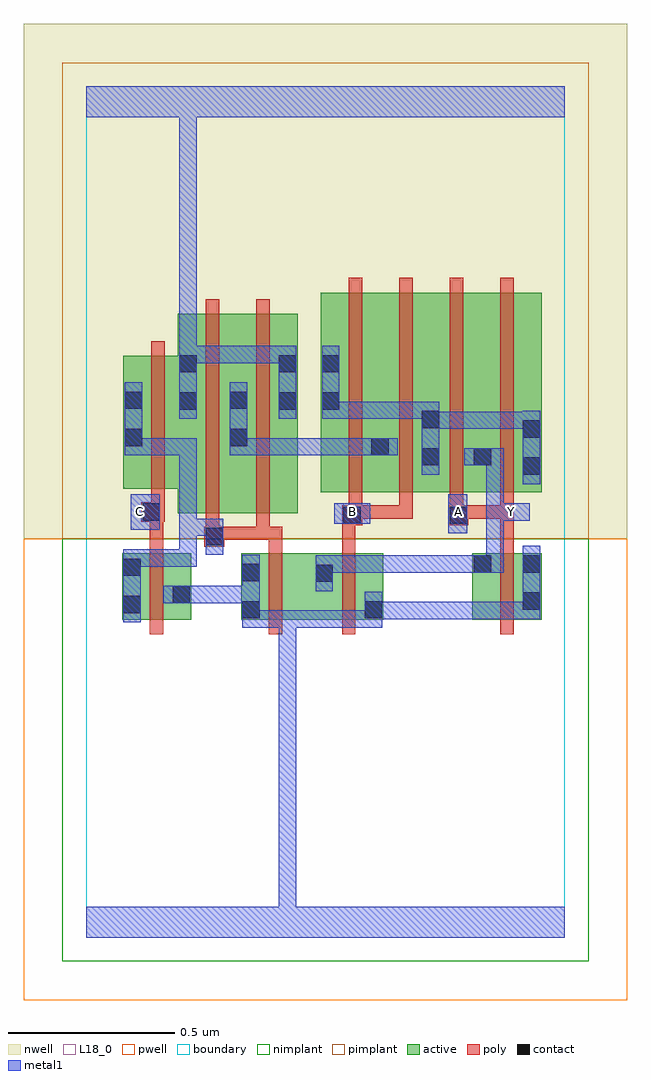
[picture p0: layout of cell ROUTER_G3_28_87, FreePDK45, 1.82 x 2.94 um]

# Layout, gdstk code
import gdstk
lib = gdstk.Library(unit=1e-6, precision=1e-09)
def R(c, l, rs):  # rectangles x0, y0, x1, y1
    for r in rs: c.add(gdstk.rectangle(r[:2], r[2:], *l))
def A(c, l, x, y, w, h, nx, ny, dx, dy):  # array of equal rectangles
    R(c, l, [(x+i*dx, y+j*dy, x+i*dx+w, y+j*dy+h) for i in range(nx) for j in range(ny)])
active = (1, 0)
pwell = (2, 0)
nwell = (3, 0)
nimplant = (4, 0)
pimplant = (5, 0)
poly = (9, 0)
contact = (10, 0)
metal1 = (11, 0)
L18_0 = (18, 0)
boundary = (235, 0)

router_g3_28_87 = lib.new_cell('ROUTER_G3_28_87')
R(router_g3_28_87, active, [(0.108,0.956,0.168,1.156), (0.108,0.956,0.316,1.156), (0.256,0.956,0.316,1.156), (0.466,0.956,0.526,1.156), (0.466,0.956,0.746,1.156), (0.686,0.956,0.894,1.156), (0.686,0.956,0.746,1.126), (0.834,0.956,0.894,1.156), (1.162,0.956,1.222,1.156), (1.162,0.956,1.37,1.156), (1.31,0.956,1.37,1.156), (0.276,1.276,0.488,1.876), (0.428,1.276,0.636,1.876), (0.428,1.276,0.488,1.876), (0.576,1.276,0.636,1.876), (0.706,1.34,0.914,1.94), (0.706,1.34,0.766,1.94), (0.854,1.34,1.066,1.94), (1.006,1.34,1.222,1.94), (1.162,1.34,1.37,1.94), (1.31,1.34,1.37,1.844), (0.112,1.35,0.336,1.75), (0.112,1.35,0.172,1.75), (0.276,1.35,0.336,1.756), (1.006,1.416,1.066,1.844), (1.162,1.416,1.222,1.844), (0.854,1.446,0.914,1.844)])
R(router_g3_28_87, pwell, [(-0.188,-0.188,1.628,1.2)])
R(router_g3_28_87, nwell, [(-0.188,1.2,1.628,2.748)])
R(router_g3_28_87, nimplant, [(-0.072,-0.072,1.512,1.2)])
R(router_g3_28_87, pimplant, [(-0.072,1.2,1.512,2.632)])
A(router_g3_28_87, poly, 0.79, 1.26, 0.04, 0.076, 4, 1, 0.152, 0)
A(router_g3_28_87, poly, 0.79, 1.296, 0.04, 0.688, 4, 1, 0.152, 0)
R(router_g3_28_87, poly, [(0.192,0.912,0.232,1.2), (0.55,0.912,0.59,1.2), (0.77,0.912,0.81,1.2), (1.246,0.912,1.286,1.2), (0.192,1.16,0.232,1.29), (0.55,1.16,0.59,1.236), (0.77,1.16,0.81,1.28), (1.246,1.16,1.286,1.3), (0.356,1.176,0.416,1.236), (0.36,1.196,0.4,1.272), (0.376,1.196,0.552,1.236), (0.512,1.196,0.552,1.272), (0.512,1.196,0.552,1.236), (0.512,1.196,0.552,1.236), (0.512,1.196,0.552,1.236), (0.512,1.196,0.552,1.236), (0.512,1.196,0.59,1.236), (0.36,1.232,0.4,1.92), (0.512,1.232,0.552,1.92), (0.77,1.24,0.81,1.28), (0.77,1.24,0.81,1.28), (0.77,1.24,0.83,1.3), (1.09,1.24,1.15,1.3), (0.166,1.25,0.236,1.31), (0.192,1.25,0.232,1.29), (0.192,1.25,0.232,1.29), (0.79,1.26,0.83,1.3), (0.79,1.26,0.83,1.3), (0.79,1.26,0.982,1.3), (0.942,1.26,0.982,1.3), (1.11,1.26,1.286,1.3), (1.246,1.26,1.286,1.3), (1.246,1.26,1.286,1.3), (1.246,1.26,1.286,1.3), (1.246,1.26,1.286,1.3), (1.246,1.26,1.286,1.3), (0.196,1.27,0.236,1.346), (0.196,1.306,0.236,1.794)])
R(router_g3_28_87, contact, [(0.47,0.96,0.522,1.012), (0.838,0.96,0.89,1.012), (0.112,0.976,0.164,1.028), (1.314,0.986,1.366,1.038), (0.26,1.006,0.312,1.058), (0.69,1.07,0.742,1.122), (0.47,1.072,0.522,1.124), (0.112,1.088,0.164,1.14), (1.166,1.098,1.218,1.15), (1.314,1.098,1.366,1.15), (0.36,1.18,0.412,1.232), (0.774,1.244,0.826,1.296), (1.094,1.244,1.146,1.296), (0.17,1.254,0.222,1.306), (1.314,1.392,1.366,1.444), (1.01,1.42,1.062,1.472), (1.166,1.42,1.218,1.472), (0.858,1.45,0.91,1.502), (0.116,1.478,0.168,1.53), (0.432,1.478,0.484,1.53), (1.314,1.504,1.366,1.556), (1.01,1.532,1.062,1.584), (0.28,1.588,0.332,1.64), (0.58,1.588,0.632,1.64), (0.71,1.588,0.762,1.64), (0.116,1.59,0.168,1.642), (0.432,1.59,0.484,1.642), (0.28,1.7,0.332,1.752), (0.58,1.7,0.632,1.752), (0.71,1.7,0.762,1.752)])
R(router_g3_28_87, metal1, [(0,0,1.44,0.092), (0.58,0.04,0.632,0.092), (0.58,0.04,0.632,0.092), (0.58,0.04,0.632,0.092), (0.58,0.04,0.632,0.092), (0.58,0.04,0.632,0.092), (0.58,0.04,0.632,0.092), (0.58,0.04,0.632,0.092), (0.58,0.04,0.632,0.092), (0.58,0.04,0.632,0.092), (0.58,0.04,0.632,0.092), (0.58,0.04,0.632,0.092), (0.58,0.04,0.632,0.092), (0.58,0.04,0.632,0.092), (0.58,0.04,0.632,0.092), (0.58,0.04,0.632,0.984), (0.47,0.932,0.522,0.984), (0.47,0.932,0.522,0.984), (0.47,0.932,0.522,1.152), (0.47,0.932,0.632,0.984), (0.58,0.932,0.632,0.984), (0.58,0.932,0.632,0.984), (0.58,0.932,0.632,0.984), (0.58,0.932,0.632,0.984), (0.58,0.932,0.632,0.984), (0.58,0.932,0.632,0.984), (0.58,0.932,0.632,0.984), (0.58,0.932,0.822,0.984), (0.77,0.932,0.822,0.984), (0.77,0.932,0.89,0.984), (0.838,0.932,0.89,1.04), (0.112,0.948,0.164,1.168), (0.838,0.958,1.03,1.01), (0.978,0.958,1.03,1.01), (0.978,0.958,1.08,1.01), (1.028,0.958,1.08,1.01), (1.028,0.958,1.19,1.01), (1.138,0.958,1.19,1.01), (1.138,0.958,1.19,1.01), (1.138,0.958,1.19,1.01), (1.138,0.958,1.366,1.01), (1.314,0.958,1.366,1.01), (1.314,0.958,1.366,1.01), (1.314,0.958,1.366,1.178), (0.232,1.006,0.34,1.058), (0.288,1.006,0.34,1.058), (0.288,1.006,0.34,1.058), (0.288,1.006,0.522,1.058), (0.69,1.042,0.742,1.15), (0.69,1.098,0.742,1.15), (0.69,1.098,0.742,1.15), (0.69,1.098,0.932,1.15), (0.88,1.098,0.932,1.15), (0.88,1.098,0.932,1.15), (0.88,1.098,0.932,1.15), (0.88,1.098,1.08,1.15), (1.028,1.098,1.08,1.15), (1.028,1.098,1.19,1.15), (1.138,1.098,1.19,1.15), (1.138,1.098,1.19,1.15), (1.138,1.098,1.256,1.15), (1.204,1.098,1.256,1.306), (0.112,1.116,0.164,1.168), (0.112,1.116,0.164,1.168), (0.112,1.116,0.164,1.168), (0.112,1.116,0.164,1.168), (0.112,1.116,0.332,1.168), (0.28,1.116,0.332,1.168), (0.28,1.116,0.332,1.26), (0.36,1.152,0.412,1.26), (0.28,1.208,0.332,1.26), (0.28,1.208,0.412,1.26), (0.28,1.208,0.332,1.502), (1.09,1.216,1.146,1.334), (0.134,1.226,0.222,1.334), (0.746,1.244,0.854,1.306), (1.204,1.254,1.256,1.306), (1.204,1.254,1.256,1.306), (1.204,1.254,1.256,1.472), (1.204,1.254,1.334,1.306), (1.314,1.364,1.366,1.584), (1.01,1.392,1.062,1.612), (1.138,1.42,1.256,1.472), (0.116,1.45,0.168,1.502), (0.116,1.45,0.168,1.502), (0.116,1.45,0.168,1.67), (0.116,1.45,0.332,1.502), (0.28,1.45,0.332,1.502), (0.432,1.45,0.484,1.502), (0.432,1.45,0.484,1.502), (0.432,1.45,0.484,1.67), (0.432,1.45,0.632,1.502), (0.58,1.45,0.632,1.502), (0.58,1.45,0.742,1.502), (0.69,1.45,0.742,1.502), (0.69,1.45,0.742,1.502), (0.69,1.45,0.742,1.502), (0.69,1.45,0.882,1.502), (0.83,1.45,0.938,1.502), (1.01,1.53,1.256,1.582), (1.204,1.53,1.256,1.582), (1.204,1.53,1.256,1.582), (1.204,1.53,1.256,1.582), (1.204,1.53,1.366,1.582), (1.314,1.53,1.366,1.582), (1.314,1.53,1.366,1.582), (0.28,1.56,0.332,1.78), (0.58,1.56,0.632,1.78), (0.71,1.56,0.762,1.612), (0.71,1.56,0.762,1.612), (0.71,1.56,0.762,1.78), (0.71,1.56,0.952,1.612), (0.9,1.56,0.952,1.612), (0.9,1.56,0.952,1.612), (0.9,1.56,0.952,1.612), (0.9,1.56,1.062,1.612), (0.28,1.728,0.332,1.78), (0.28,1.728,0.332,1.78), (0.28,1.728,0.332,1.78), (0.28,1.728,0.332,1.78), (0.28,1.728,0.45,1.78), (0.28,1.728,0.332,2.52), (0.398,1.728,0.45,1.78), (0.398,1.728,0.45,1.78), (0.398,1.728,0.45,1.78), (0.398,1.728,0.632,1.78), (0,2.468,1.44,2.56), (0.28,2.468,0.332,2.52), (0.28,2.468,0.332,2.52), (0.28,2.468,0.332,2.52), (0.28,2.468,0.332,2.52), (0.28,2.468,0.332,2.52), (0.28,2.468,0.332,2.52), (0.28,2.468,0.332,2.52), (0.28,2.468,0.332,2.52), (0.28,2.468,0.332,2.52), (0.28,2.468,0.332,2.52)])
R(router_g3_28_87, L18_0, [(0,0,1.44,0.092), (0.58,0.04,0.632,0.092), (0.58,0.04,0.632,0.092), (0.58,0.04,0.632,0.092), (0.58,0.04,0.632,0.092), (0.58,0.04,0.632,0.092), (0.58,0.04,0.632,0.092), (0.58,0.04,0.632,0.092), (0.58,0.04,0.632,0.092), (0.58,0.04,0.632,0.092), (0.58,0.04,0.632,0.092), (0.58,0.04,0.632,0.092), (0.58,0.04,0.632,0.092), (0.58,0.04,0.632,0.092), (0.58,0.04,0.632,0.092), (0.58,0.04,0.632,0.984), (0.47,0.932,0.522,1.152), (0.47,0.932,0.522,0.984), (0.47,0.932,0.522,0.984), (0.47,0.932,0.632,0.984), (0.58,0.932,0.632,0.984), (0.58,0.932,0.632,0.984), (0.58,0.932,0.632,0.984), (0.58,0.932,0.632,0.984), (0.58,0.932,0.632,0.984), (0.58,0.932,0.632,0.984), (0.58,0.932,0.632,0.984), (0.58,0.932,0.822,0.984), (0.77,0.932,0.822,0.984), (0.77,0.932,0.89,0.984), (0.838,0.932,0.89,1.04), (0.838,0.958,1.03,1.01), (0.978,0.958,1.03,1.01), (0.978,0.958,1.08,1.01), (1.028,0.958,1.08,1.01), (1.028,0.958,1.19,1.01), (1.138,0.958,1.19,1.01), (1.138,0.958,1.19,1.01), (1.138,0.958,1.19,1.01), (1.138,0.958,1.366,1.01), (1.314,0.958,1.366,1.178), (1.314,0.958,1.366,1.01), (1.314,0.958,1.366,1.01), (0.232,1.006,0.34,1.058), (0.288,1.006,0.34,1.058), (0.288,1.006,0.34,1.058), (0.288,1.006,0.522,1.058), (0.69,1.042,0.742,1.15), (0.69,1.098,0.742,1.15), (0.69,1.098,0.742,1.15), (0.69,1.098,0.932,1.15), (0.88,1.098,0.932,1.15), (0.88,1.098,0.932,1.15), (0.88,1.098,0.932,1.15), (0.88,1.098,1.08,1.15), (1.028,1.098,1.08,1.15), (1.028,1.098,1.19,1.15), (1.138,1.098,1.19,1.15), (1.138,1.098,1.19,1.15), (1.138,1.098,1.256,1.15), (1.204,1.098,1.256,1.306), (1.09,1.216,1.146,1.334), (0.134,1.226,0.222,1.334), (0.746,1.244,0.854,1.306), (0.134,1.254,0.186,1.306), (0.774,1.254,0.826,1.306), (1.094,1.254,1.146,1.306), (1.204,1.254,1.256,1.306), (1.204,1.254,1.256,1.306), (1.204,1.254,1.334,1.306), (1.204,1.254,1.256,1.472), (1.254,1.254,1.306,1.306), (1.138,1.42,1.256,1.472), (0.28,1.56,0.332,1.78), (0.58,1.56,0.632,1.78), (0.28,1.728,0.332,1.78), (0.28,1.728,0.332,1.78), (0.28,1.728,0.332,1.78), (0.28,1.728,0.332,1.78), (0.28,1.728,0.332,2.52), (0.28,1.728,0.45,1.78), (0.398,1.728,0.45,1.78), (0.398,1.728,0.45,1.78), (0.398,1.728,0.45,1.78), (0.398,1.728,0.632,1.78), (0,2.468,1.44,2.56), (0.28,2.468,0.332,2.52), (0.28,2.468,0.332,2.52), (0.28,2.468,0.332,2.52), (0.28,2.468,0.332,2.52), (0.28,2.468,0.332,2.52), (0.28,2.468,0.332,2.52), (0.28,2.468,0.332,2.52), (0.28,2.468,0.332,2.52), (0.28,2.468,0.332,2.52), (0.28,2.468,0.332,2.52)])
R(router_g3_28_87, boundary, [(0,0,1.44,2.56)])
router_g3_28_87.add(gdstk.Label('A', (1.12,1.28), layer=11, texttype=0))
router_g3_28_87.add(gdstk.Label('B', (0.8,1.28), layer=11, texttype=0))
router_g3_28_87.add(gdstk.Label('C', (0.16,1.28), layer=11, texttype=0))
router_g3_28_87.add(gdstk.Label('Y', (1.28,1.28), layer=11, texttype=0))

lib.write_gds('ROUTER_G3_28_87.gds')
